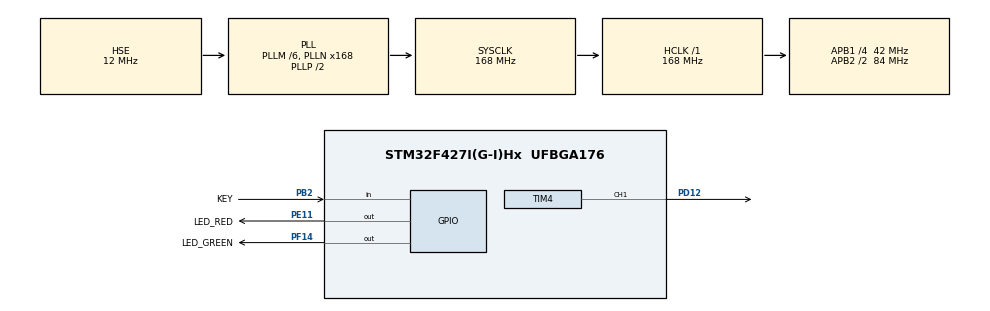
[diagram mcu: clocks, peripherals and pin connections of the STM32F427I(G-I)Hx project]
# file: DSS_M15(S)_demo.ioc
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Mcu.Family=STM32F4
Mcu.Name=STM32F427I(G-I)Hx
Mcu.Package=UFBGA176
NVIC.PriorityGroup=NVIC_PRIORITYGROUP_4
PB2/BOOT1.GPIO_Label=KEY
PB2/BOOT1.Signal=GPIO_Input
PD12.Signal=S_TIM4_CH1
PE11.GPIO_Label=LED_RED
PE11.Signal=GPIO_Output
PF14.GPIO_Label=LED_GREEN
PF14.Signal=GPIO_Output
PH0/OSC_IN.Mode=HSE-External-Oscillator
PH0/OSC_IN.Signal=RCC_OSC_IN
PH1/OSC_OUT.Mode=HSE-External-Oscillator
PH1/OSC_OUT.Signal=RCC_OSC_OUT
ProjectManager.HeapSize=0x200
ProjectManager.StackSize=0x400
ProjectManager.TargetToolchain=STM32CubeIDE
RCC.48MHZClocksFreq_Value=84000000
RCC.AHBFreq_Value=168000000
RCC.APB1CLKDivider=RCC_HCLK_DIV4
RCC.APB1Freq_Value=42000000
RCC.APB1TimFreq_Value=84000000
RCC.APB2CLKDivider=RCC_HCLK_DIV2
RCC.APB2Freq_Value=84000000
RCC.APB2TimFreq_Value=168000000
RCC.CortexFreq_Value=168000000
RCC.HCLKFreq_Value=168000000
RCC.HSE_VALUE=12000000
RCC.HSI_VALUE=16000000
RCC.LSE_VALUE=32768
RCC.PLLM=6
RCC.PLLN=168
RCC.PLLSourceVirtual=RCC_PLLSOURCE_HSE
RCC.SYSCLKFreq_VALUE=168000000
RCC.SYSCLKSource=RCC_SYSCLKSOURCE_PLLCLK
RCC.VCOOutputFreq_Value=336000000
SH.S_TIM4_CH1.0=TIM4_CH1,PWM Generation1 CH1
TIM4.Channel-PWM\ Generation1\ CH1=TIM_CHANNEL_1
TIM4.Period=7199
TIM4.Prescaler=83
board=PWM

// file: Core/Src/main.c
/* USER CODE BEGIN Header */
/**
  ******************************************************************************
  * @file           : main.c
  * @brief          : Main program body
  ******************************************************************************
  * @attention
  *
  * Copyright (c) 2023 STMicroelectronics.
  * All rights reserved.
  *
  * This software is licensed under terms that can be found in the LICENSE file
  * in the root directory of this software component.
  * If no LICENSE file comes with this software, it is provided AS-IS.
  *
  *	DSS-M15 motor is controlled based on RC PWM signal;  Pulse width range is 500
  *	- 2500 us, Neutral position signal is 1500 us; Clockwise rotation is < 1500
  *	us; Operating frequency is 50 - 330 Hz.
  ******************************************************************************
  */
/* USER CODE END Header */
#include "main.h"
#include "tim.h"
#include "gpio.h"

/* USER CODE BEGIN Includes */
#include "../../Bsp/bsp_key.h"
#include "../../Bsp/bsp_led.h"
#include "../../Bsp/bsp_pwm.h"

/* USER CODE END Includes */

/* USER CODE BEGIN PV */
int16_t led_cnt;
int32_t flag = 0;
uint16_t time_on = 1500;

/* USER CODE END PV */

void SystemClock_Config(void);

int main(void)
{

  /* MCU Configuration--------------------------------------------------------*/

  /* Reset of all peripherals, Initializes the Flash interface and the Systick. */
  HAL_Init();

  /* Configure the system clock */
  SystemClock_Config();

  /* Initialize all configured peripherals */
  MX_GPIO_Init();
  MX_TIM4_Init();
  /* USER CODE BEGIN 2 */
  pwm_init(); // Start pwm output

  /* USER CODE END 2 */

  /* Infinite loop */
  /* USER CODE BEGIN WHILE */
  while (1)
  {
	/* Led blink */
	led_cnt ++;
	if (led_cnt == 250)
	{
		led_cnt = 0;
		LED_GREEN_TOGGLE(); // Blink cycle 500ms
	}

	/* Scan if key is being pressed*/
	if (key_scan())
	{
		if (flag == 0)
		{
			while (time_on < 2500)
			{
				__HAL_TIM_SET_COMPARE(&htim4,TIM_CHANNEL_1,time_on++); // CCW rotation
				HAL_Delay (1);
			}
			flag = 1;
		}
		else
		{
			while (time_on > 500)
			{
				__HAL_TIM_SET_COMPARE(&htim4,TIM_CHANNEL_1,time_on--); // CW rotation
				HAL_Delay (1);
			}
			flag = 0;
		}
	}
    /* USER CODE END WHILE */

  }
}

void SystemClock_Config(void)
{
  RCC_OscInitTypeDef RCC_OscInitStruct = {0};
  RCC_ClkInitTypeDef RCC_ClkInitStruct = {0};

  /** Configure the main internal regulator output voltage
  */
  __HAL_RCC_PWR_CLK_ENABLE();
  __HAL_PWR_VOLTAGESCALING_CONFIG(PWR_REGULATOR_VOLTAGE_SCALE1);

  /** Initializes the RCC Oscillators according to the specified parameters
  * in the RCC_OscInitTypeDef structure.
  */
  RCC_OscInitStruct.OscillatorType = RCC_OSCILLATORTYPE_HSE;
  RCC_OscInitStruct.HSEState = RCC_HSE_ON;
  RCC_OscInitStruct.PLL.PLLState = RCC_PLL_ON;
  RCC_OscInitStruct.PLL.PLLSource = RCC_PLLSOURCE_HSE;
  RCC_OscInitStruct.PLL.PLLM = 6;
  RCC_OscInitStruct.PLL.PLLN = 168;
  RCC_OscInitStruct.PLL.PLLP = RCC_PLLP_DIV2;
  RCC_OscInitStruct.PLL.PLLQ = 4;
  if (HAL_RCC_OscConfig(&RCC_OscInitStruct) != HAL_OK)
  {
    Error_Handler();
  }

  /** Initializes the CPU, AHB and APB buses clocks
  */
  RCC_ClkInitStruct.ClockType = RCC_CLOCKTYPE_HCLK|RCC_CLOCKTYPE_SYSCLK
                              |RCC_CLOCKTYPE_PCLK1|RCC_CLOCKTYPE_PCLK2;
  RCC_ClkInitStruct.SYSCLKSource = RCC_SYSCLKSOURCE_PLLCLK;
  RCC_ClkInitStruct.AHBCLKDivider = RCC_SYSCLK_DIV1;
  RCC_ClkInitStruct.APB1CLKDivider = RCC_HCLK_DIV4;
  RCC_ClkInitStruct.APB2CLKDivider = RCC_HCLK_DIV2;

  if (HAL_RCC_ClockConfig(&RCC_ClkInitStruct, FLASH_LATENCY_5) != HAL_OK)
  {
    Error_Handler();
  }
}

void Error_Handler(void)
{
  __disable_irq();
  while (1)
  {
  }
}
